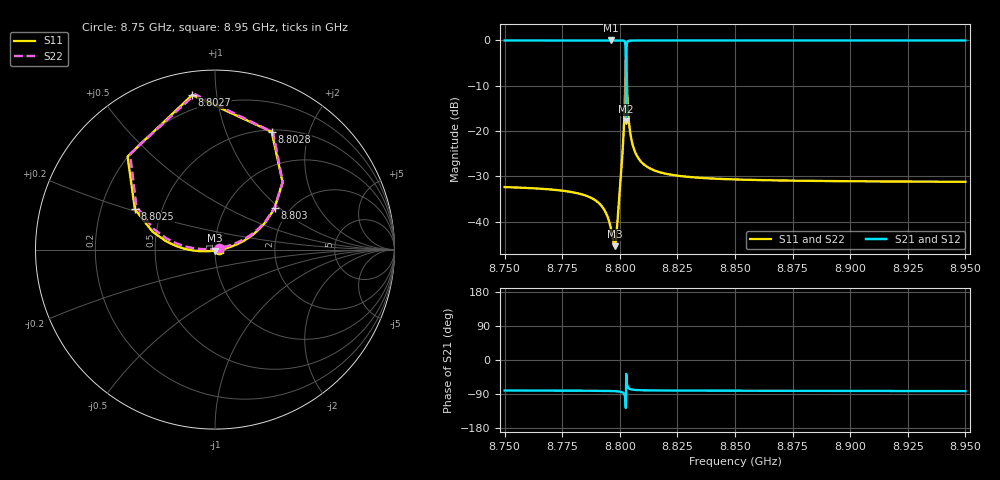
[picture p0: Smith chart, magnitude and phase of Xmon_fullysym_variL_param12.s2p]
! Sonnet Data File
! From: emgraph Version : 16.52
! From Project: 171117_Xmon_fullysym
! Data is De-embedded
! Data File Written: 11/26/2017 17:14:23
!< HDATE 11/22/2017 16:48:52
!< MDATE 11/23/2017 10:16:42
!< PARAMS
!< Lj = 11.0
!< Gap = 1.0
!< Pwid = 2000.0
!< Airgap = 6.0
!< Width = 10.0
!< Lj1 = 9.0
!< END PARAMS
# GHZ S MA R 50.90000
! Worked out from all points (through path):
!   2001 points, 8.75 GHz to 8.95 GHz, reference 50.9 ohm
!   highest |S21| = 0.00 dB at 8.7963 GHz (marker M1); lowest = -17.8 dB at 8.8027 GHz (marker M2)
!   lowest |S11| = -45.4 dB at 8.7978 GHz (marker M3), VSWR 1.01, Z = 51 - j0.544 ohm
!   |S11| at or under -10 dB: start of sweep to 8.8023 GHz; 8.8031 GHz to end of sweep
!   |S22| runs from -45.1 to -1.2 dB; largest |S21 - S12| = 4.1e-11
!   S11 on the Smith chart (normalised r, x): 8.75 GHz: 1.05, -0.00; 8.8025 GHz: 0.35, +0.21; 8.8027 GHz: 0.12, +0.86; 8.8028 GHz: 0.52, +1.46; 8.803 GHz: 1.68, +0.92; 8.95 GHz: 1.06, -0.00
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8.75  0.02408 -2.9  0.9997 -80.5  0.9997 -80.5  0.02408 22.0
!< P1 F=8.75 Eeff=(6.44841643 -2.9796e-5) Z0=(50.9085185 1.17018e-4) R=0.0 C=0.0
!< P2 F=8.75 Eeff=(6.44841643 -2.9796e-5) Z0=(50.9085185 1.17018e-4) R=0.0 C=0.0
8.7834  0.02005 -6.2  0.9998 -81.0  0.9998 -81.0  0.02005 24.2
8.7921  0.01489 -12.3  0.9999 -81.4  0.9999 -81.4  0.0149 29.6
8.7963  0.008023 -33.7  0.9999 -81.9  0.9999 -81.9  0.008106 50.5
8.7978  0.005365 -83.8  0.9999 -82.3  0.9999 -82.3  0.005571 99.2
8.7987  0.008069 -130.9  0.9998 -82.6  0.9998 -82.6  0.008275 144.0
8.7999  0.02045 -158.3  0.9995 -83.4  0.9995 -83.4  0.02062 169.7
8.801  0.04951 -169.2  0.9979 -85.1  0.9979 -85.1  0.04969 177.0
8.8017  0.1014 -175.9  0.9924 -88.1  0.9924 -88.1  0.1016 176.9
8.8025  0.4994 153.3  0.8186 -112.1  0.8186 -112.1  0.5002 151.2
8.8027  0.8706 98.4  0.1287 -83.4  0.1287 -83.4  0.8721 97.3
8.8028  0.728 64.3  0.5644 -36.6  0.5644 -36.6  0.7291 63.7
8.803  0.4034 34.7  0.8912 -58.6  0.8912 -58.6  0.404 35.0
8.8038  0.1408 14.9  0.988 -74.2  0.988 -74.2  0.141 18.2
8.8046  0.09308 10.6  0.995 -77.0  0.995 -77.0  0.09316 16.2
8.8066  0.05896 6.4  0.9981 -79.0  0.9981 -79.0  0.05899 15.9
8.8103  0.04314 3.4  0.999 -79.9  0.999 -79.9  0.04315 16.9
8.8167  0.03553 1.3  0.9994 -80.4  0.9994 -80.4  0.03554 17.9
8.85  0.02924 -1.4  0.9996 -81.1  0.9996 -81.1  0.02924 19.2
8.8834  0.02818 -2.3  0.9996 -81.5  0.9996 -81.5  0.02818 19.3
8.9167  0.02776 -2.9  0.9996 -81.8  0.9996 -81.8  0.02776 19.2
8.95  0.02755 -3.3  0.9996 -82.1  0.9996 -82.1  0.02755 19.1
